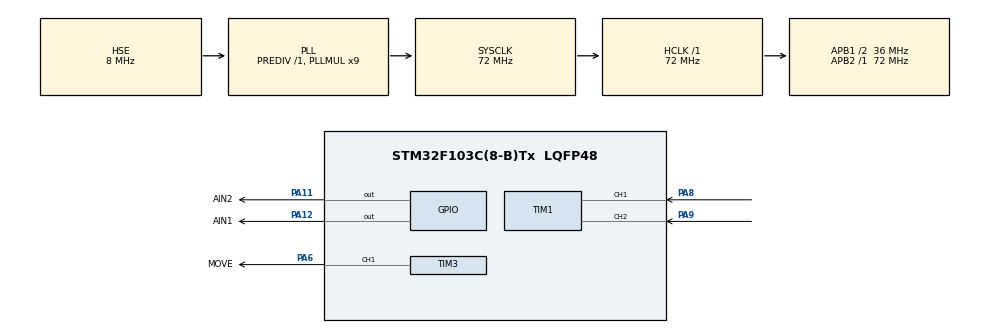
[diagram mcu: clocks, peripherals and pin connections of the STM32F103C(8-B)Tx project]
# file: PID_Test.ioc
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Mcu.Family=STM32F1
Mcu.Name=STM32F103C(8-B)Tx
Mcu.Package=LQFP48
NVIC.PriorityGroup=NVIC_PRIORITYGROUP_4
NVIC.TIM2_IRQn=true\:0\:0\:false\:false\:true\:true\:true\:true
PA11.GPIO_Label=AIN2
PA11.Signal=GPIO_Output
PA12.GPIO_Label=AIN1
PA12.Signal=GPIO_Output
PA13.Mode=Serial_Wire
PA13.Signal=SYS_JTMS-SWDIO
PA14.Mode=Serial_Wire
PA14.Signal=SYS_JTCK-SWCLK
PA6.GPIO_Label=MOVE
PA6.Signal=S_TIM3_CH1
PA8.Signal=S_TIM1_CH1
PA9.Signal=S_TIM1_CH2
PD0-OSC_IN.Mode=HSE-External-Oscillator
PD0-OSC_IN.Signal=RCC_OSC_IN
PD1-OSC_OUT.Mode=HSE-External-Oscillator
PD1-OSC_OUT.Signal=RCC_OSC_OUT
ProjectManager.HeapSize=0x200
ProjectManager.StackSize=0x400
ProjectManager.TargetToolchain=Makefile
RCC.AHBFreq_Value=72000000
RCC.APB1CLKDivider=RCC_HCLK_DIV2
RCC.APB1Freq_Value=36000000
RCC.APB1TimFreq_Value=72000000
RCC.APB2Freq_Value=72000000
RCC.APB2TimFreq_Value=72000000
RCC.HCLKFreq_Value=72000000
RCC.PLLMUL=RCC_PLL_MUL9
RCC.PLLSourceVirtual=RCC_PLLSOURCE_HSE
RCC.SYSCLKFreq_VALUE=72000000
RCC.SYSCLKSource=RCC_SYSCLKSOURCE_PLLCLK
RCC.USBFreq_Value=72000000
SH.S_TIM1_CH1.0=TIM1_CH1,Encoder_Interface
SH.S_TIM1_CH2.0=TIM1_CH2,Encoder_Interface
SH.S_TIM3_CH1.0=TIM3_CH1,PWM Generation1 CH1
TIM2.Period=199
TIM2.Prescaler=7199
TIM3.Channel-PWM\ Generation1\ CH1=TIM_CHANNEL_1
TIM3.Period=999
TIM3.Prescaler=71
TIM3.Pulse-PWM\ Generation1\ CH1=100
VP_TIM2_VS_ClockSourceINT.Mode=Internal
VP_TIM3_VS_ClockSourceINT.Mode=Internal
board=custom

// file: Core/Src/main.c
/* USER CODE BEGIN Header */
/**
  ******************************************************************************
  * @file           : main.c
  * @brief          : Main program body
  ******************************************************************************
  * @attention
  *
  * Copyright (c) 2026 STMicroelectronics.
  * All rights reserved.
  *
  * This software is licensed under terms that can be found in the LICENSE file
  * in the root directory of this software component.
  * If no LICENSE file comes with this software, it is provided AS-IS.
  *
  ******************************************************************************
  */
/* USER CODE END Header */
#include "main.h"
#include "tim.h"
#include "gpio.h"

/* USER CODE BEGIN Includes */
#include "pid.h"
#include "string.h"
#include "stdio.h"
#include <math.h>
#include "delta.h"
/* USER CODE END Includes */

/* USER CODE BEGIN PV */
volatile PID_t position_pid;
volatile PID_t speed_pid;
volatile uint16_t previous_count = 0;
volatile uint16_t current_count = 0;
volatile int32_t delta_count = 0;
volatile int32_t total_count = 0;
float_t target_position;
float_t dt = 0.02f;

/* USER CODE END PV */

void SystemClock_Config(void);

int main(void)
{

  /* MCU Configuration--------------------------------------------------------*/

  /* Reset of all peripherals, Initializes the Flash interface and the Systick. */
  HAL_Init();

  /* Configure the system clock */
  SystemClock_Config();

  /* Initialize all configured peripherals */
  MX_GPIO_Init();
  MX_TIM1_Init();
  MX_TIM2_Init();
  MX_TIM3_Init();
  /* USER CODE BEGIN 2 */
  target_position = 13 * 30 * 2 * 2;

  /*初始化pid参数*/
  position_pid.Kd = 0.01;
  position_pid.Ki = 0.5;
  position_pid.Kp = 2;
  position_pid.output_max = 1000;
  position_pid.output_min = -1000;

  speed_pid.Kd = 0.01;
  speed_pid.Ki = 0.5;
  speed_pid.Kp = 2;
  speed_pid.output_max = 1000;
  speed_pid.output_min = -1000;

  PID_Reset(&position_pid);
  PID_Reset(&speed_pid);

  /*启动3个TIM*/
  if(HAL_TIM_Base_Start(&htim3) != HAL_OK)
  {
    Error_Handler();
  }
  __HAL_TIM_SET_COMPARE(&htim3, TIM_CHANNEL_1, 0U);
  HAL_TIM_PWM_Start(&htim3,TIM_CHANNEL_1); //启动TIM3——PWM输出

  __HAL_TIM_SET_COUNTER(&htim1, 0U);
  if(HAL_TIM_Base_Start(&htim1) != HAL_OK)
  {
    Error_Handler();
  }
  HAL_TIM_Encoder_Start(&htim1, TIM_CHANNEL_ALL); //启动TIM1——获取编码器CNT

  __HAL_TIM_SET_COUNTER(&htim2, 0U);
  __HAL_TIM_CLEAR_FLAG(&htim2, TIM_FLAG_UPDATE);
  if(HAL_TIM_Base_Start_IT(&htim2) != HAL_OK)
  {
    Error_Handler();
  } //启动TIM2——定时中断

  /*写入初始化方向*/
  HAL_GPIO_WritePin(AIN1_GPIO_Port, AIN1_Pin, GPIO_PIN_SET);
  HAL_GPIO_WritePin(AIN2_GPIO_Port, AIN2_Pin, GPIO_PIN_RESET);
  /* USER CODE END 2 */

  /* Infinite loop */
  while (1)
  {

  }
}

void SystemClock_Config(void)
{
  RCC_OscInitTypeDef RCC_OscInitStruct = {0};
  RCC_ClkInitTypeDef RCC_ClkInitStruct = {0};

  /** Initializes the RCC Oscillators according to the specified parameters
  * in the RCC_OscInitTypeDef structure.
  */
  RCC_OscInitStruct.OscillatorType = RCC_OSCILLATORTYPE_HSE;
  RCC_OscInitStruct.HSEState = RCC_HSE_ON;
  RCC_OscInitStruct.HSEPredivValue = RCC_HSE_PREDIV_DIV1;
  RCC_OscInitStruct.HSIState = RCC_HSI_ON;
  RCC_OscInitStruct.PLL.PLLState = RCC_PLL_ON;
  RCC_OscInitStruct.PLL.PLLSource = RCC_PLLSOURCE_HSE;
  RCC_OscInitStruct.PLL.PLLMUL = RCC_PLL_MUL9;
  if (HAL_RCC_OscConfig(&RCC_OscInitStruct) != HAL_OK)
  {
    Error_Handler();
  }

  /** Initializes the CPU, AHB and APB buses clocks
  */
  RCC_ClkInitStruct.ClockType = RCC_CLOCKTYPE_HCLK|RCC_CLOCKTYPE_SYSCLK
                              |RCC_CLOCKTYPE_PCLK1|RCC_CLOCKTYPE_PCLK2;
  RCC_ClkInitStruct.SYSCLKSource = RCC_SYSCLKSOURCE_PLLCLK;
  RCC_ClkInitStruct.AHBCLKDivider = RCC_SYSCLK_DIV1;
  RCC_ClkInitStruct.APB1CLKDivider = RCC_HCLK_DIV2;
  RCC_ClkInitStruct.APB2CLKDivider = RCC_HCLK_DIV1;

  if (HAL_RCC_ClockConfig(&RCC_ClkInitStruct, FLASH_LATENCY_2) != HAL_OK)
  {
    Error_Handler();
  }
}

/* USER CODE BEGIN 4 */
void HAL_TIM_PeriodElapsedCallback(TIM_HandleTypeDef *htim)
{
  if(htim->Instance == TIM2)
  {
    //Tip：PID与PWM是自动执行的，每时每刻都在做事
    /*获取当下的编码器COUNT*/
    current_count = (uint16_t)__HAL_TIM_GET_COUNTER(&htim1);
    delta_count = Encoder_Delta(current_count, previous_count);
    total_count += delta_count;

    /*启动PID算法，双环PID串联，并计算相关值*/
    float current_speed = delta_count / dt;

    float target_speed = PID_Update(&position_pid, target_position, total_count, dt);
    float temporary_target = PID_Update(&speed_pid, target_speed, current_speed, dt);

    /*判断方向并给CCR赋值*/
    if(temporary_target >= 0)
    {
      HAL_GPIO_WritePin(AIN1_GPIO_Port, AIN1_Pin, GPIO_PIN_RESET);
      HAL_GPIO_WritePin(AIN2_GPIO_Port, AIN2_Pin, GPIO_PIN_SET);

      __HAL_TIM_SET_COMPARE(&htim3, TIM_CHANNEL_1, temporary_target);
    }
    else if(temporary_target < 0)
    {
      HAL_GPIO_WritePin(AIN1_GPIO_Port, AIN1_Pin, GPIO_PIN_SET);
      HAL_GPIO_WritePin(AIN2_GPIO_Port, AIN2_Pin, GPIO_PIN_RESET);

      temporary_target = 0 - temporary_target;
      __HAL_TIM_SET_COMPARE(&htim3, TIM_CHANNEL_1, temporary_target);
    }

    /*更新count*/
    previous_count = current_count;

    /*检测是否稳定在目标值附近 + 不同的运动模式*/
    static uint8_t model = 1;
    static uint32_t start_wait_ms = 0;

    float position_error = target_position - (float)total_count;

    switch(model)
    {
      //所谓model，其实是2个不同运动状态间的检查点，检查上一个运动是否合规，并开启下一个运动
      case 1: //承正转2圈，启等待300ms
        if(Motor_IsArrived(position_error, current_speed))
        {
          model = 2;
          start_wait_ms = HAL_GetTick();
        }
        break;

      case 2: //承等待300ms，启反转2圈
        if((uint32_t)HAL_GetTick() - start_wait_ms >= 300)
        {
          target_position = 0U;
          model = 3;
        }
        break;

      case 3: //承反转2圈，启停止
        if(Motor_IsArrived(position_error, current_speed))
        {
          model = 4;
        }
        break;
    }

  }
}
/* USER CODE END 4 */

void Error_Handler(void)
{
  __disable_irq();
  while (1)
  {
  }
}
